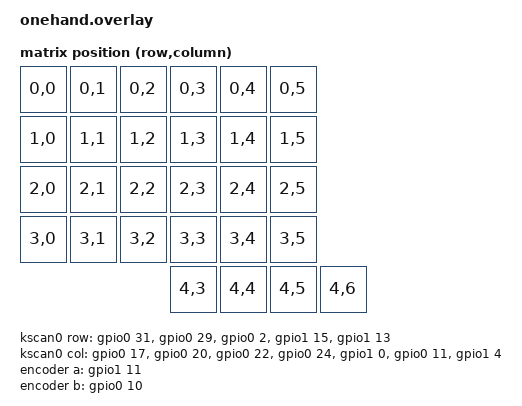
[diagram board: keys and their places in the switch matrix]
/*
 * 한손 키보드 1호 — 하드웨어 정의
 * 컨트롤러: SuperMini nRF52840 (nice!nano v2 호환)
 * 매트릭스: 열 7개 × 줄 5개, 다이오드 방향 열→줄 (col2row)
 */

#include <dt-bindings/zmk/matrix_transform.h>
#include <physical_layouts.dtsi>

/ {
    chosen {
        zmk,kscan = &kscan0;
        zmk,physical-layout = &default_layout;
    };

    kscan0: kscan {
        compatible = "zmk,kscan-gpio-matrix";
        wakeup-source;
        diode-direction = "col2row";

        /* 열 0~6: P0.17 P0.20 P0.22 P0.24 P1.00 P0.11 P1.04 */
        col-gpios
            = <&gpio0 17 GPIO_ACTIVE_HIGH>
            , <&gpio0 20 GPIO_ACTIVE_HIGH>
            , <&gpio0 22 GPIO_ACTIVE_HIGH>
            , <&gpio0 24 GPIO_ACTIVE_HIGH>
            , <&gpio1  0 GPIO_ACTIVE_HIGH>
            , <&gpio0 11 GPIO_ACTIVE_HIGH>
            , <&gpio1  4 GPIO_ACTIVE_HIGH>
            ;

        /* 줄 0~4: P0.31 P0.29 P0.02 P1.15 P1.13 */
        row-gpios
            = <&gpio0 31 (GPIO_ACTIVE_HIGH | GPIO_PULL_DOWN)>
            , <&gpio0 29 (GPIO_ACTIVE_HIGH | GPIO_PULL_DOWN)>
            , <&gpio0  2 (GPIO_ACTIVE_HIGH | GPIO_PULL_DOWN)>
            , <&gpio1 15 (GPIO_ACTIVE_HIGH | GPIO_PULL_DOWN)>
            , <&gpio1 13 (GPIO_ACTIVE_HIGH | GPIO_PULL_DOWN)>
            ;
    };

    /* 키 28개 (키 27 + 노브 누름). 줄0 열5 = 노브 누름 */
    default_transform: keymap_transform_0 {
        compatible = "zmk,matrix-transform";
        columns = <7>;
        rows = <5>;
        map = <
            RC(0,0) RC(0,1) RC(0,2) RC(0,3) RC(0,4) RC(0,5)
            RC(1,0) RC(1,1) RC(1,2) RC(1,3) RC(1,4) RC(1,5)
            RC(2,0) RC(2,1) RC(2,2) RC(2,3) RC(2,4) RC(2,5)
            RC(3,0) RC(3,1) RC(3,2) RC(3,3) RC(3,4) RC(3,5)
                                    RC(4,3) RC(4,4) RC(4,5) RC(4,6)
        >;
    };

    /* ZMK Studio용 키 위치 (단위: 키 1칸 = 100) */
    default_layout: default_layout {
        compatible = "zmk,physical-layout";
        display-name = "Default";
        transform = <&default_transform>;
        kscan = <&kscan0>;
        keys  //                     w   h    x    y   rot  rx  ry
            = <&key_physical_attrs 100 100    0    0     0   0   0>
            , <&key_physical_attrs 100 100  100    0     0   0   0>
            , <&key_physical_attrs 100 100  200    0     0   0   0>
            , <&key_physical_attrs 100 100  300    0     0   0   0>
            , <&key_physical_attrs 100 100  400    0     0   0   0>
            , <&key_physical_attrs 100 100  500    0     0   0   0>
            , <&key_physical_attrs 100 100    0  100     0   0   0>
            , <&key_physical_attrs 100 100  100  100     0   0   0>
            , <&key_physical_attrs 100 100  200  100     0   0   0>
            , <&key_physical_attrs 100 100  300  100     0   0   0>
            , <&key_physical_attrs 100 100  400  100     0   0   0>
            , <&key_physical_attrs 100 100  500  100     0   0   0>
            , <&key_physical_attrs 100 100    0  200     0   0   0>
            , <&key_physical_attrs 100 100  100  200     0   0   0>
            , <&key_physical_attrs 100 100  200  200     0   0   0>
            , <&key_physical_attrs 100 100  300  200     0   0   0>
            , <&key_physical_attrs 100 100  400  200     0   0   0>
            , <&key_physical_attrs 100 100  500  200     0   0   0>
            , <&key_physical_attrs 100 100    0  300     0   0   0>
            , <&key_physical_attrs 100 100  100  300     0   0   0>
            , <&key_physical_attrs 100 100  200  300     0   0   0>
            , <&key_physical_attrs 100 100  300  300     0   0   0>
            , <&key_physical_attrs 100 100  400  300     0   0   0>
            , <&key_physical_attrs 100 100  500  300     0   0   0>
            , <&key_physical_attrs 100 100  300  400     0   0   0>
            , <&key_physical_attrs 100 100  400  400     0   0   0>
            , <&key_physical_attrs 100 100  500  400     0   0   0>
            , <&key_physical_attrs 100 100  600  400     0   0   0>
            ;
    };

    /* 노브 회전: A = P1.11, B = P0.10 */
    encoder: encoder {
        compatible = "alps,ec11";
        a-gpios = <&gpio1 11 (GPIO_ACTIVE_HIGH | GPIO_PULL_UP)>;
        b-gpios = <&gpio0 10 (GPIO_ACTIVE_HIGH | GPIO_PULL_UP)>;
        steps = <80>;
        status = "okay";
    };

    sensors: sensors {
        compatible = "zmk,keymap-sensors";
        sensors = <&encoder>;
        triggers-per-rotation = <20>;
    };
};
